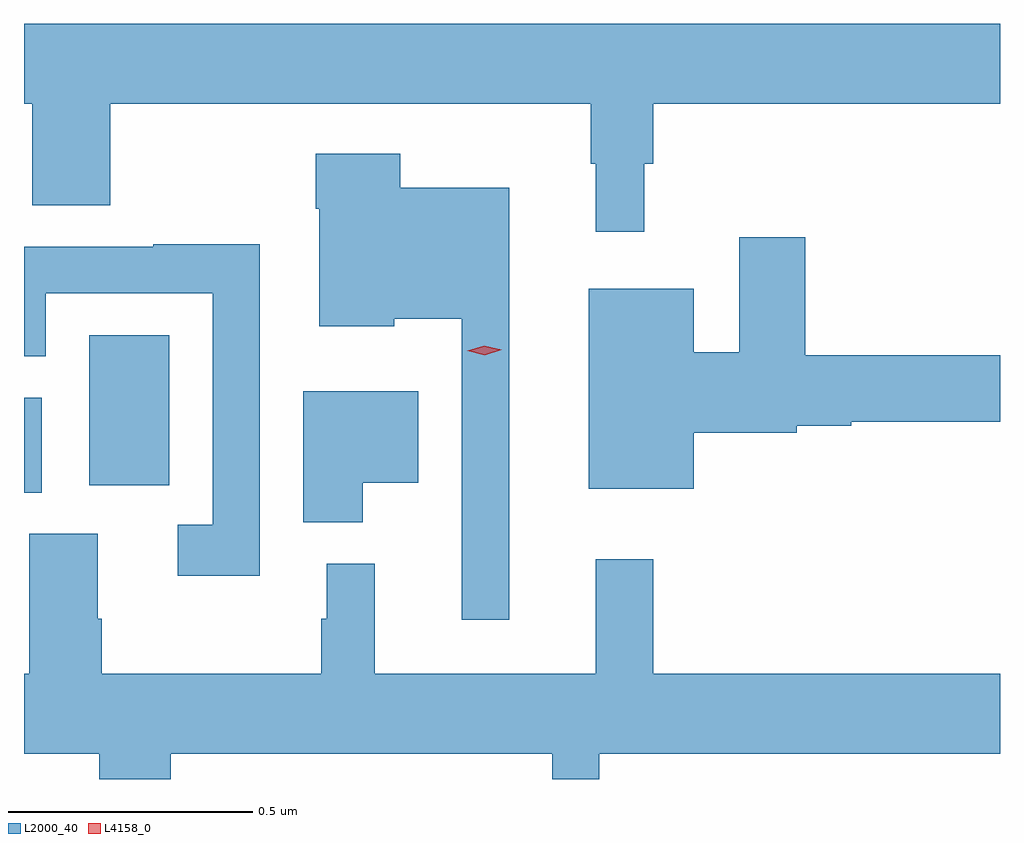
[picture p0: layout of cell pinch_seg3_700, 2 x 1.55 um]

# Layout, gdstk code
import gdstk
lib = gdstk.Library(unit=1e-6, precision=1e-09)
def R(c, l, rs):  # rectangles x0, y0, x1, y1
    for r in rs: c.add(gdstk.rectangle(r[:2], r[2:], *l))
def P(c, l, *ps):  # polygons
    for p in ps: c.add(gdstk.Polygon(p, *l))
L2000_40 = (2000, 40)
L4158_0 = (4158, 0)

pinch_seg3_700 = lib.new_cell('pinch_seg3_700')
R(pinch_seg3_700, L2000_40, [(1127.82,684.135,1127.856,684.329), (1127.954,684.15,1128.118,684.457)])
P(pinch_seg3_700, L2000_40, [(1129.091,684.809),(1129.109,684.809),(1129.109,684.932),(1129.82,684.932),(1129.82,685.096),(1127.82,685.096),(1127.82,684.932),(1127.837,684.932),(1127.837,684.724),(1127.997,684.724),(1127.997,684.932),(1128.981,684.932),(1128.981,684.809),(1128.992,684.809),(1128.992,684.669),(1129.091,684.669)],
  [(1128.814,684.76),(1128.591,684.76),(1128.591,684.829),(1128.418,684.829),(1128.418,684.716),(1128.425,684.716),(1128.425,684.476),(1128.579,684.476),(1128.579,684.491),(1128.717,684.491),(1128.717,683.874),(1128.814,683.874)],
  [(1129.192,684.257),(1129.404,684.257),(1129.404,684.272),(1129.515,684.272),(1129.515,684.28),(1129.82,684.28),(1129.82,684.416),(1129.421,684.416),(1129.421,684.658),(1129.286,684.658),(1129.286,684.422),(1129.192,684.422),(1129.192,684.553),(1128.977,684.553),(1128.977,684.143),(1129.192,684.143)],
  [(1128.303,684.644),(1128.085,684.644),(1128.085,684.639),(1127.82,684.639),(1127.82,684.414),(1127.865,684.414),(1127.865,684.543),(1128.207,684.543),(1128.207,684.069),(1128.135,684.069),(1128.135,683.964),(1128.303,683.964)],
  [(1128.514,684.155),(1128.628,684.155),(1128.628,684.343),(1128.392,684.343),(1128.392,684.074),(1128.514,684.074)],
  [(1128.121,683.6),(1128.902,683.6),(1128.902,683.547),(1128.999,683.547),(1128.999,683.6),(1129.82,683.6),(1129.82,683.764),(1129.109,683.764),(1129.109,683.998),(1128.992,683.998),(1128.992,683.764),(1128.539,683.764),(1128.539,683.989),(1128.44,683.989),(1128.44,683.876),(1128.429,683.876),(1128.429,683.764),(1127.979,683.764),(1127.979,683.876),(1127.971,683.876),(1127.971,684.05),(1127.831,684.05),(1127.831,683.764),(1127.82,683.764),(1127.82,683.6),(1127.974,683.6),(1127.974,683.547),(1128.121,683.547)])
P(pinch_seg3_700, L4158_0, [(1128.764,684.416),(1128.728,684.425),(1128.728,684.425),(1128.728,684.425),(1128.763,684.436),(1128.799,684.428),(1128.799,684.428),(1128.799,684.428)])

lib.write_gds('pinch_seg3_700.gds')
